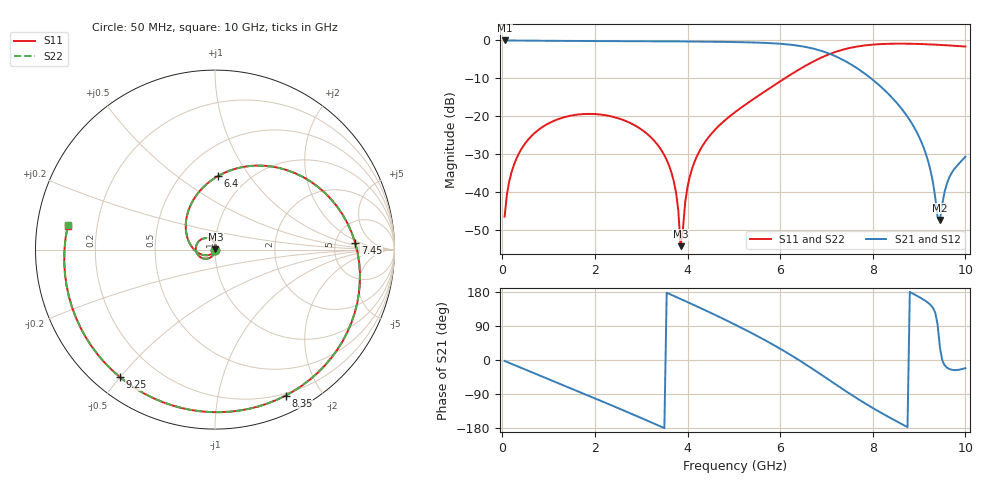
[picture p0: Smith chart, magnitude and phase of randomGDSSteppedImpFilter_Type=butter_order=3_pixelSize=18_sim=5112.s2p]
! freq	dB(S11)	phase(S11)	dB(S12)	phase(S12)
!  dB(S21)	phase(S21)	dB(S22)	phase(S22)
!S-par simulation data
#  GHz  S  DB  R 50
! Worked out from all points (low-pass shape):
!   200 points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, 50 MHz to 10 GHz, reference 50 ohm
!   highest |S21| = 0.00 dB at 50 MHz (marker M1); lowest = -47.5 dB at 9.45 GHz (marker M2)
!   |S21| within 3 dB of the highest: start of sweep to 6.951 GHz
!   lowest |S11| = -54.3 dB at 3.85 GHz (marker M3), VSWR 1.00, Z = 50.2 + j0.0767 ohm
!   |S11| at or under -10 dB: start of sweep to 6.102 GHz
!   |S22| runs from -55.2 to -0.8 dB; largest |S21 - S12| = 0
!   S11 on the Smith chart (normalised r, x): 50 MHz: 1.00, -0.01; 6.4 GHz: 0.73, +0.72; 7.45 GHz: 7.85, +1.56; 8.35 GHz: 0.18, -1.58; 9.25 GHz: 0.08, -0.50; 10 GHz: 0.09, +0.08
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0.05  -46.56 -90.8  -0.00 -2.6  -0.00 -2.6  -46.56 -90.8
0.2  -34.79 -99.3  -0.02 -10.2  -0.02 -10.2  -34.79 -99.3
0.5  -27.10 -115.7  -0.04 -25.4  -0.04 -25.4  -27.10 -115.6
1.75  -19.45 -179.8  -0.15 -88.5  -0.15 -88.5  -19.45 -179.7
2.5  -20.54 141.4  -0.19 -126.9  -0.19 -126.9  -20.54 141.5
3.4  -28.35 92.6  -0.23 -174.4  -0.23 -174.4  -28.35 92.9
3.7  -37.02 73.0  -0.25 169.4  -0.25 169.4  -37.03 74.0
3.8  -44.78 59.8  -0.26 163.9  -0.26 163.9  -44.85 62.4
3.85  -54.34 23.5  -0.26 161.1  -0.26 161.1  -55.17 29.9
4  -38.67 -112.3  -0.27 152.8  -0.27 152.8  -38.70 -113.7
4.15  -32.09 -124.2  -0.29 144.4  -0.29 144.4  -32.10 -124.9
5.05  -18.72 -179.8  -0.43 91.9  -0.43 91.9  -18.72 -180.0
5.65  -13.62 141.4  -0.63 53.8  -0.63 53.8  -13.62 141.3
6.4  -7.74 87.6  -1.41 0.2  -1.41 0.2  -7.74 87.5
6.7  -5.67 64.1  -2.12 -23.4  -2.12 -23.4  -5.67 63.9
7.45  -2.14 2.8  -5.76 -84.8  -5.76 -84.8  -2.14 2.7
8.35  -0.88 -64.2  -14.28 -150.9  -14.28 -150.9  -0.88 -64.4
8.9  -0.90 -101.9  -23.10 173.0  -23.10 173.0  -0.90 -102.3
9.25  -1.05 -126.7  -34.52 145.0  -34.52 145.0  -1.05 -127.2
9.45  -1.17 -141.8  -47.45 32.9  -47.45 32.9  -1.18 -142.3
9.65  -1.32 -157.8  -36.25 -23.6  -36.25 -23.6  -1.32 -158.4
10  -1.61 171.0  -30.70 -21.6  -30.70 -21.6  -1.62 170.3
